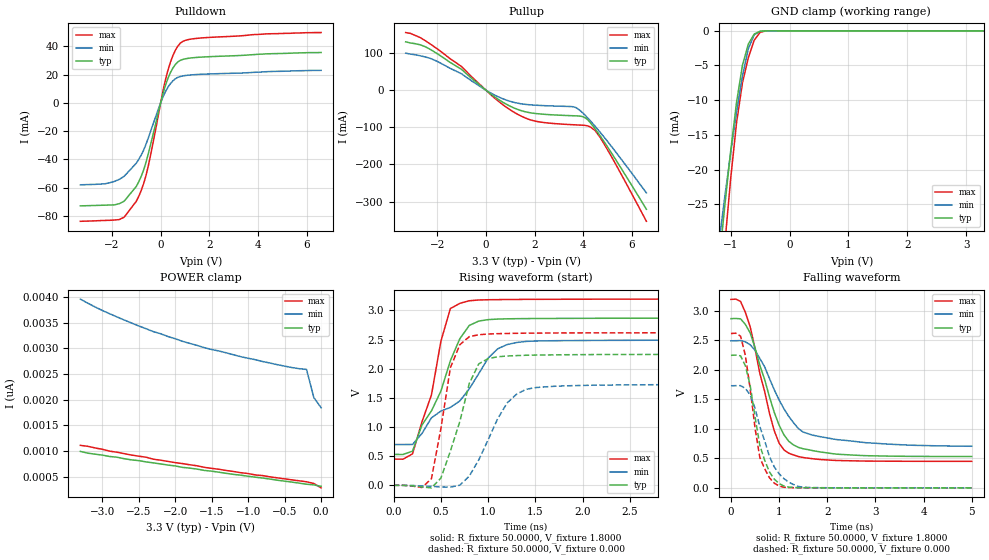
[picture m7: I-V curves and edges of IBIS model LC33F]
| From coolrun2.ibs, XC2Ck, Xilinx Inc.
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|   Model LC33F
[Model]   LC33F
Model_type   I/O
Polarity   Inverting
Enable   Active-High
Vinl =   0.8000V
Vinh =   2.0000V
Vmeas =   1.650V
Cref =  35.0000pF
Rref =   125.005
Vref =  1.540V
C_comp   1.4810pF   0.9482pF   2.0140pF
[Temperature Range]   25.0000   100.0000   0.000
[Voltage Range]   3.3000V   3.0000V   3.6000V
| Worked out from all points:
|   slope of the pulldown table from 0 to 0.495 V, typ, clamps not added: 20.3 ohm
|   slope of the pullup table from 0 to 0.495 V, typ, clamps not added: 20.4 ohm
|   GND clamp passes 1 mA (typ) near -0.64 V on its own axis
|   rising waveform, R_fixture 50.0000, V_fixture 1.8000: 20-80 % time 378ps typ, 619ps min, 247ps max; typ from 0.531 V to 2.87 V
|   rising waveform, R_fixture 50.0000, V_fixture 0.000: 20-80 % time 244ps typ, 322ps min, 172ps max; typ from 0 V to 2.25 V
|   falling waveform, R_fixture 50.0000, V_fixture 1.8000: 20-80 % time 549ps typ, 701ps min, 466ps max; typ from 2.87 V to 0.531 V
|   falling waveform, R_fixture 50.0000, V_fixture 0.000: 20-80 % time 329ps typ, 423ps min, 272ps max; typ from 2.25 V to 0 V
[Pulldown]
| voltage   I(typ)   I(min)   I(max)
-3.3V     -72.8mA    -57.9mA    -83.7mA
-2.3V     -72.3mA    -57.2mA    -83.1mA
-1.7V     -71.23mA   -54.06mA   -82.48mA
-1.5V     -69.49mA   -51.89mA   -80.79mA
-1V       -59.06mA   -42.61mA   -69.57mA
-800mV    -52.01mA   -36.94mA   -61.99mA
-600mV    -41.98mA   -29.23mA   -51.26mA
200mV     12.46mA    7.971mA    16.42mA
500mV     24.55mA    15.52mA    33.24mA
800mV     29.99mA    18.63mA    42.11mA
1.7V      32.41mA    20.26mA    45.95mA
6.6V      35.6mA     23.01mA    49.73mA
[Pullup]
| voltage   I(typ)   I(min)   I(max)
-3.3V     130mA      99.51mA    155mA
-2.7V     122mA      92.58mA    141.5mA
-2.3V     110.1mA    85.96mA    124.8mA
-1V       55.82mA    43.89mA    63.41mA
400mV     -20mA      -14.56mA   -23.67mA
1.4V      -54.09mA   -36.27mA   -68.27mA
2.2V      -63.95mA   -41.12mA   -85.5mA
3.6V      -68.97mA   -44.79mA   -93.2mA
4.1V      -75.18mA   -69.01mA   -95.03mA
4.5V      -104.9mA   -97.92mA   -109.4mA
5.1V      -162.8mA   -146.3mA   -171.7mA
6.6V      -320.7mA   -276.7mA   -353.1mA
[GND_clamp]
| voltage   I(typ)   I(min)   I(max)
-3.3V     -239.9mA   -199.5mA   -278.2mA
-1.2V     -33.67mA   -30.61mA   -40.86mA
-1.1V     -25.24mA   -23.93mA   -30.78mA
-1V       -17.33mA   -17.6mA    -21.32mA
-900mV    -10.3mA    -11.71mA   -13.24mA
-800mV    -4.97mA    -6.519mA   -7.512mA
-700mV    -1.912mA   -2.589mA   -3.865mA
-600mV    -461.7uA   -562.5uA   -1.358mA
-500mV    -51.63uA   -96.01uA   -215.1uA
-400mV    -3.51uA    -19.18uA   -14.58uA
3.3V      246.2pA    1.98nA     223.3pA
[POWER_clamp]
| voltage   I(typ)   I(min)   I(max)
-3.3V     990pA      3.961nA    1.108nA
-3V       918.2pA    3.74nA     1.032nA
-2.7V     848.1pA    3.554nA    946.8pA
-2.4V     785.5pA    3.384nA    876.6pA
-2.3V     766.2pA    3.327nA    838.4pA
-1.9V     678.8pA    3.138nA    752.4pA
-1.6V     618.7pA    3.014nA    678.9pA
-1.1V     525.8pA    2.838nA    574.9pA
-400mV    391pA      2.626nA    434.7pA
-200mV    350pA      2.589nA    398.1pA
-100mV    336.2pA    2.04nA     363.4pA
0V        309.6pA    1.842nA    278.9pA
[Ramp]
| variable   typ   min   max
dV/dt_r   1.3482/0.2088n   1.0386/0.3146n   1.5702/0.1558n
dV/dt_f   0.9708/0.8515n   0.6090/1.1081n   1.3596/0.7321n
R_load = 50.0000
[Rising Waveform]
R_fixture = 50.0000
V_fixture = 1.8000
V_fixture_min = 1.6000
V_fixture_max = 2.0000
L_fixture = 0.000H
C_fixture = 0.000F
| time   V(typ)   V(min)   V(max)
0s        530.7mV    699.7mV    449.6mV
200ps     586.7mV    701.2mV    540.3mV
400ps     1.277V     1.158V     1.552V
500ps     1.617V     1.274V     2.474V
600ps     2.137V     1.337V     3.033V
700ps     2.515V     1.448V     3.123V
800ps     2.744V     1.655V     3.167V
1ns       2.844V     2.183V     3.184V
1.3ns     2.86V      2.45V      3.189V
5ns       2.869V     2.493V     3.195V
[Rising Waveform]
R_fixture = 50.0000
V_fixture = 0.000
V_fixture_min = 0.000
V_fixture_max = 0.000
L_fixture = 0.000H
C_fixture = 0.000F
| time   V(typ)   V(min)   V(max)
0s        0V         0V         0V
400ps     -43.47mV   -17.54mV   114.7mV
500ps     123.9mV    -27.83mV   974.6mV
600ps     587mV      -30.79mV   2.017V
700ps     1.095V     1.835mV    2.413V
800ps     1.748V     158.3mV    2.551V
1ns       2.175V     784.6mV    2.596V
1.2ns     2.219V     1.413V     2.606V
1.4ns     2.232V     1.647V     2.611V
5ns       2.247V     1.731V     2.617V
[Falling Waveform]
R_fixture = 50.0000
V_fixture = 1.8000
V_fixture_min = 1.6000
V_fixture_max = 2.0000
L_fixture = 0.000H
C_fixture = 0.000F
| time   V(typ)   V(min)   V(max)
0s        2.869V     2.493V     3.195V
200ps     2.866V     2.497V     3.161V
400ps     2.627V     2.426V     2.731V
600ps     2.077V     2.193V     1.939V
900ps     1.28V      1.663V     966.2mV
1ns       1.063V     1.492V     758.8mV
1.2ns     790.1mV    1.212V     587.8mV
1.5ns     662.9mV    946.5mV    513.7mV
2.2ns     571.2mV    817.9mV    464.2mV
5ns       531.2mV    705.2mV    449.7mV
[Falling Waveform]
R_fixture = 50.0000
V_fixture = 0.000
V_fixture_min = 0.000
V_fixture_max = 0.000
L_fixture = 0.000H
C_fixture = 0.000F
| time   V(typ)   V(min)   V(max)
0s        2.247V     1.731V     2.617V
200ps     2.238V     1.733V     2.572V
300ps     2.069V     1.686V     2.243V
400ps     1.734V     1.575V     1.676V
500ps     1.206V     1.351V     1.016V
600ps     721.1mV    1.038V     513.2mV
900ps     148.3mV    355mV      80.03mV
1.2ns     11.95mV    96.94mV    4.877mV
1.5ns     2.343mV    11.11mV    1.167mV
5ns       5.945uV    33.92uV    1.638uV
